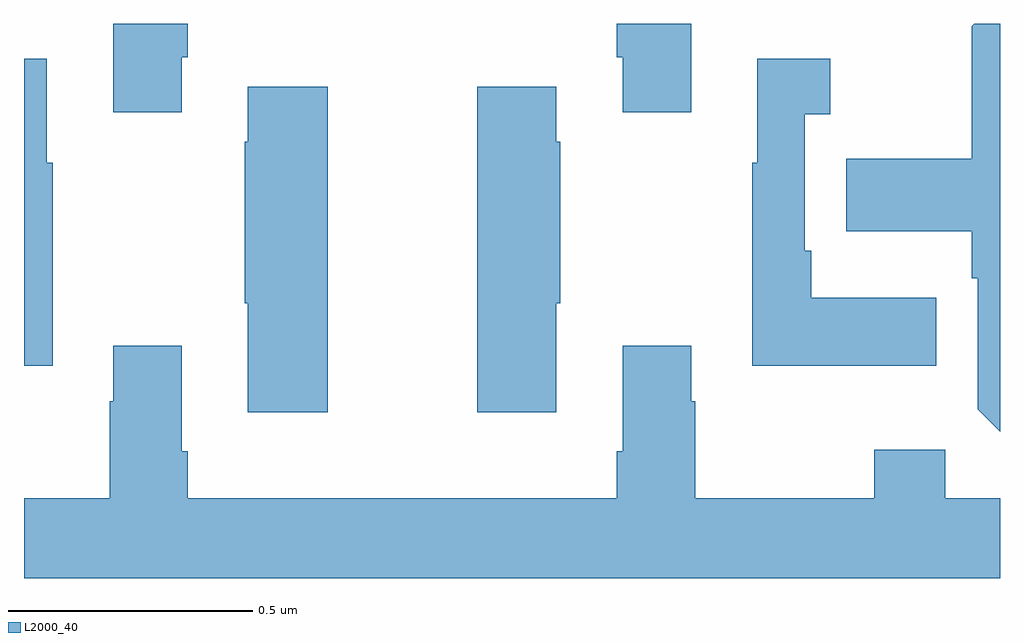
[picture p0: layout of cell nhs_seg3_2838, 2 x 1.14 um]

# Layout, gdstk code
import gdstk
lib = gdstk.Library(unit=1e-6, precision=1e-09)
def P(c, l, *ps):  # polygons
    for p in ps: c.add(gdstk.Polygon(p, *l))
L2000_40 = (2000, 40)

nhs_seg3_2838 = lib.new_cell('nhs_seg3_2838')
P(nhs_seg3_2838, L2000_40, [(146.323,687.331),(146.336,687.331),(146.336,687.4),(146.183,687.4),(146.183,687.219),(146.323,687.219)],
  [(147.367,687.4),(147.215,687.4),(147.215,687.331),(147.227,687.331),(147.227,687.219),(147.367,687.219)],
  [(148,687.4),(147.947,687.4),(147.942,687.395),(147.942,687.123),(147.685,687.123),(147.685,686.975),(147.942,686.975),(147.942,686.879),(147.954,686.879),(147.954,686.61),(148,686.564)],
  [(146.059,687.115),(146.047,687.115),(146.047,687.328),(146,687.328),(146,686.699),(146.059,686.699)],
  [(147.869,686.839),(147.613,686.839),(147.613,686.935),(147.6,686.935),(147.6,687.215),(147.652,687.215),(147.652,687.328),(147.503,687.328),(147.503,687.115),(147.492,687.115),(147.492,686.699),(147.869,686.699)],
  [(146.622,687.271),(146.459,687.271),(146.459,687.158),(146.452,687.158),(146.452,686.827),(146.459,686.827),(146.459,686.604),(146.622,686.604)],
  [(147.091,686.827),(147.099,686.827),(147.099,687.158),(147.091,687.158),(147.091,687.271),(146.929,687.271),(146.929,686.604),(147.091,686.604)],
  [(148,686.428),(147.888,686.428),(147.888,686.527),(147.742,686.527),(147.742,686.428),(147.375,686.428),(147.375,686.627),(147.367,686.627),(147.367,686.74),(147.227,686.74),(147.227,686.524),(147.215,686.524),(147.215,686.428),(146.336,686.428),(146.336,686.524),(146.323,686.524),(146.323,686.74),(146.183,686.74),(146.183,686.627),(146.176,686.627),(146.176,686.428),(146,686.428),(146,686.264),(148,686.264)])

lib.write_gds('nhs_seg3_2838.gds')
